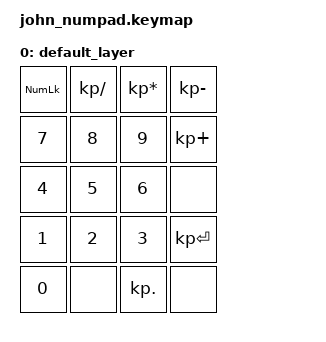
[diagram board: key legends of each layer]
/ {
    keymap {
        compatible = "zmk,keymap";

        /* Matrix: 5 rows x 4 columns
           R0: NumLock / *  -
           R1: 7       8  9  +
           R2: 4       5  6  (empty under +)
           R3: 1       2  3  Enter
           R4: 0 (2u)  .  (empties where 0/Enter occupy)
        */
        default_layer {
            bindings = <
                &kp KP_NUMLOCK  &kp KP_SLASH   &kp KP_ASTERISK &kp KP_MINUS
                &kp N7          &kp N8         &kp N9          &kp KP_PLUS
                &kp N4          &kp N5         &kp N6          &none
                &kp N1          &kp N2         &kp N3          &kp KP_ENTER
                &kp N0          &none          &kp KP_DOT      &none
            >;
        };
    };
};
